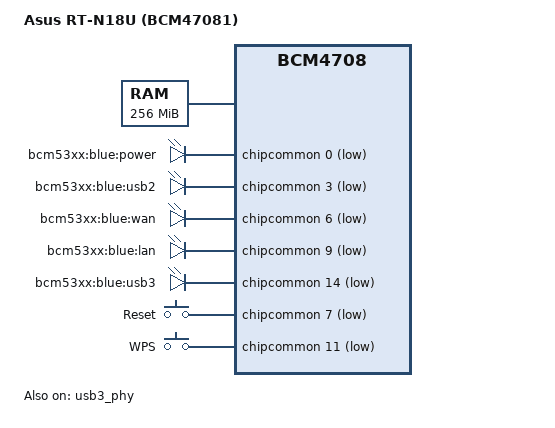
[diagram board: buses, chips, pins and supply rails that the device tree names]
// SPDX-License-Identifier: GPL-2.0-or-later OR MIT
/*
 * Broadcom BCM470X / BCM5301X ARM platform code.
 * DTS for Asus RT-N18U
 *
 * Copyright (C) 2014 Rafał Miłecki <zajec5@gmail.com>
 */

/dts-v1/;

#include "bcm47081.dtsi"
#include "bcm5301x-nand-cs0-bch8.dtsi"

/ {
	compatible = "asus,rt-n18u", "brcm,bcm47081", "brcm,bcm4708";
	model = "Asus RT-N18U (BCM47081)";

	chosen {
		bootargs = "console=ttyS0,115200";
	};

	memory@0 {
		device_type = "memory";
		reg = <0x00000000 0x08000000>,
		      <0x88000000 0x08000000>;
	};

	leds {
		compatible = "gpio-leds";

		led-power {
			label = "bcm53xx:blue:power";
			gpios = <&chipcommon 0 GPIO_ACTIVE_LOW>;
			linux,default-trigger = "default-on";
		};

		led-usb2 {
			label = "bcm53xx:blue:usb2";
			gpios = <&chipcommon 3 GPIO_ACTIVE_LOW>;
		};

		led-wan {
			label = "bcm53xx:blue:wan";
			gpios = <&chipcommon 6 GPIO_ACTIVE_LOW>;
			linux,default-trigger = "default-on";
		};

		led-lan {
			label = "bcm53xx:blue:lan";
			gpios = <&chipcommon 9 GPIO_ACTIVE_LOW>;
			linux,default-trigger = "default-on";
		};

		led-usb3 {
			label = "bcm53xx:blue:usb3";
			gpios = <&chipcommon 14 GPIO_ACTIVE_LOW>;
		};
	};

	gpio-keys {
		compatible = "gpio-keys";

		button-restart {
			label = "Reset";
			linux,code = <KEY_RESTART>;
			gpios = <&chipcommon 7 GPIO_ACTIVE_LOW>;
		};

		button-wps {
			label = "WPS";
			linux,code = <KEY_WPS_BUTTON>;
			gpios = <&chipcommon 11 GPIO_ACTIVE_LOW>;
		};
	};
};

&usb3_phy {
	status = "okay";
};
